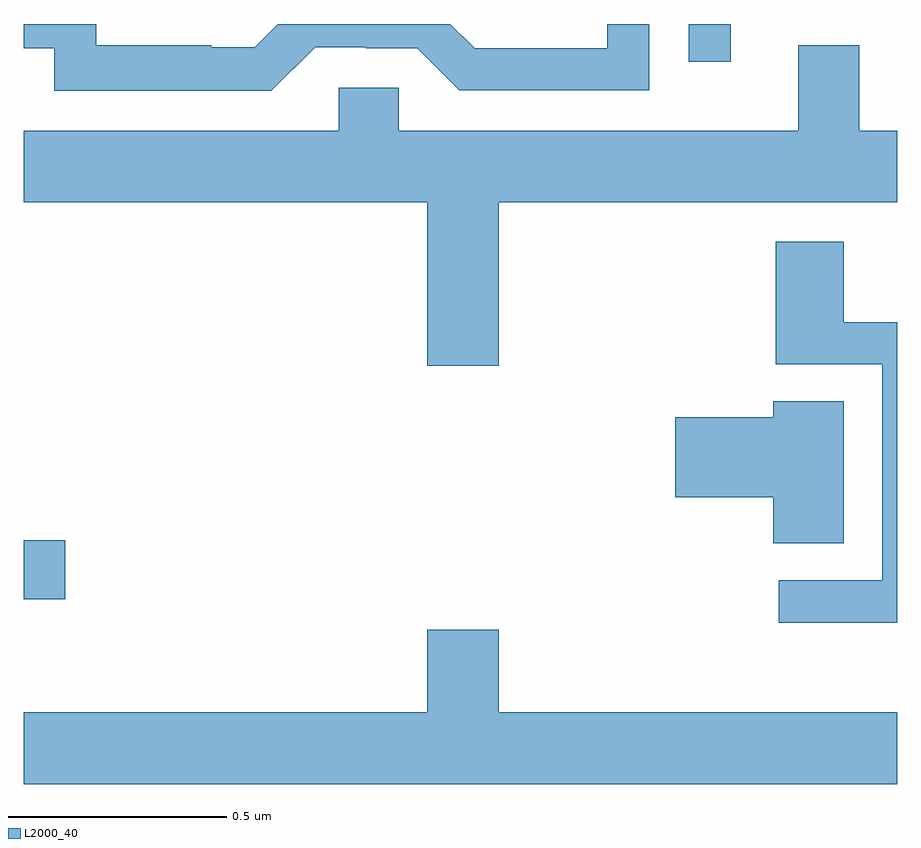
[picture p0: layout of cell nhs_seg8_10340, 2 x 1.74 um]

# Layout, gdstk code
import gdstk
lib = gdstk.Library(unit=1e-6, precision=1e-09)
def R(c, l, rs):  # rectangles x0, y0, x1, y1
    for r in rs: c.add(gdstk.rectangle(r[:2], r[2:], *l))
def P(c, l, *ps):  # polygons
    for p in ps: c.add(gdstk.Polygon(p, *l))
L2000_40 = (2000, 40)

nhs_seg8_10340 = lib.new_cell('nhs_seg8_10340')
R(nhs_seg8_10340, L2000_40, [(248,1123.583,248.095,1123.718), (249.523,1124.814,249.619,1124.9)])
P(nhs_seg8_10340, L2000_40, [(248.667,1124.847),(248.783,1124.847),(248.783,1124.844),(248.901,1124.844),(248.997,1124.748),(249.432,1124.748),(249.432,1124.9),(249.336,1124.9),(249.336,1124.844),(249.033,1124.844),(248.977,1124.9),(248.582,1124.9),(248.529,1124.847),(248.429,1124.847),(248.429,1124.851),(248.166,1124.851),(248.166,1124.9),(248,1124.9),(248,1124.844),(248.07,1124.844),(248.07,1124.747),(248.567,1124.747)],
  [(249.088,1124.492),(250,1124.492),(250,1124.656),(249.913,1124.656),(249.913,1124.851),(249.773,1124.851),(249.773,1124.656),(248.859,1124.656),(248.859,1124.754),(248.721,1124.754),(248.721,1124.656),(248,1124.656),(248,1124.492),(248.924,1124.492),(248.924,1124.118),(249.088,1124.118)],
  [(250,1124.217),(249.877,1124.217),(249.877,1124.401),(249.722,1124.401),(249.722,1124.121),(249.966,1124.121),(249.966,1123.626),(249.729,1123.626),(249.729,1123.529),(250,1123.529)],
  [(249.877,1124.036),(249.716,1124.036),(249.716,1124),(249.492,1124),(249.492,1123.817),(249.716,1123.817),(249.716,1123.711),(249.877,1123.711)],
  [(250,1123.324),(249.088,1123.324),(249.088,1123.513),(248.924,1123.513),(248.924,1123.324),(248,1123.324),(248,1123.16),(250,1123.16)])

lib.write_gds('nhs_seg8_10340.gds')
